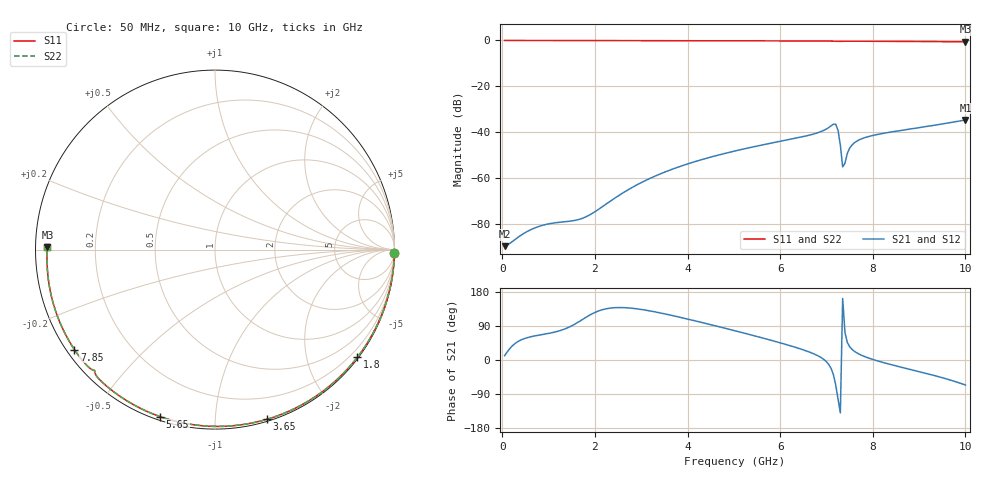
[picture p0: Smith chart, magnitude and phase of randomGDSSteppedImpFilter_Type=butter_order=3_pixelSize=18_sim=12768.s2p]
! freq	dB(S11)	phase(S11)	dB(S12)	phase(S12)
!  dB(S21)	phase(S21)	dB(S22)	phase(S22)
!S-par simulation data
#  GHz  S  DB  R 50
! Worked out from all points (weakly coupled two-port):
!   200 points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, 50 MHz to 10 GHz, reference 50 ohm
!   highest |S21| = -34.71 dB at 10 GHz (marker M1); lowest = -89.8 dB at 50 MHz (marker M2)
!   lowest |S11| = -0.6 dB at 10 GHz (marker M3), VSWR 29.13, Z = 1.72 + j0.408 ohm
!   |S11| at or under -10 dB: nowhere
!   |S22| runs from -0.6 to 0.0 dB; largest |S21 - S12| = 0
!   S11 on the Smith chart (normalised r, x): 50 MHz: open; 1.8 GHz: 0.03, -2.98; 3.65 GHz: 0.02, -1.35; 5.65 GHz: 0.02, -0.72; 7.85 GHz: 0.02, -0.32; 10 GHz: 0.03, +0.01
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0.05  -0.00 -1.1  -89.78 11.4  -89.78 11.4  -0.00 -1.1
1  -0.02 -20.9  -80.05 70.2  -80.05 70.2  -0.02 -20.9
1.75  -0.05 -36.1  -77.47 108.4  -77.47 108.4  -0.05 -36.1
1.8  -0.05 -37.1  -77.04 112.2  -77.04 112.2  -0.05 -37.1
2.75  -0.07 -55.9  -64.77 137.2  -64.77 137.2  -0.07 -55.9
3.4  -0.09 -68.2  -58.33 124.5  -58.33 124.5  -0.09 -68.2
3.65  -0.10 -72.9  -56.34 117.9  -56.34 117.9  -0.10 -72.9
5.05  -0.15 -98.0  -48.11 76.4  -48.11 76.4  -0.15 -98.0
5.65  -0.18 -108.3  -45.46 57.2  -45.46 57.2  -0.18 -108.3
6.7  -0.24 -125.9  -40.96 17.6  -40.96 17.6  -0.24 -125.9
7.2  -0.40 -134.6  -36.57 -65.8  -36.57 -65.8  -0.40 -134.6
7.25  -0.44 -134.9  -39.26 -102.8  -39.26 -102.8  -0.44 -134.9
7.3  -0.40 -135.3  -45.65 -139.5  -45.65 -139.5  -0.40 -135.3
7.35  -0.36 -136.1  -55.18 162.3  -55.18 162.3  -0.36 -136.1
7.4  -0.34 -136.9  -53.56 72.3  -53.56 72.3  -0.34 -136.9
7.45  -0.33 -137.8  -49.30 46.4  -49.30 46.4  -0.33 -137.8
7.55  -0.33 -139.5  -45.67 28.4  -45.67 28.4  -0.33 -139.5
7.65  -0.33 -141.2  -44.00 19.2  -44.00 19.2  -0.33 -141.2
7.85  -0.35 -144.6  -42.27 7.8  -42.27 7.8  -0.35 -144.6
8.35  -0.39 -152.9  -40.11 -10.8  -40.11 -10.8  -0.39 -152.9
9.2  -0.49 -167.1  -37.43 -36.8  -37.43 -36.8  -0.49 -167.1
10  -0.60 179.1  -34.71 -66.0  -34.71 -66.0  -0.60 179.1
